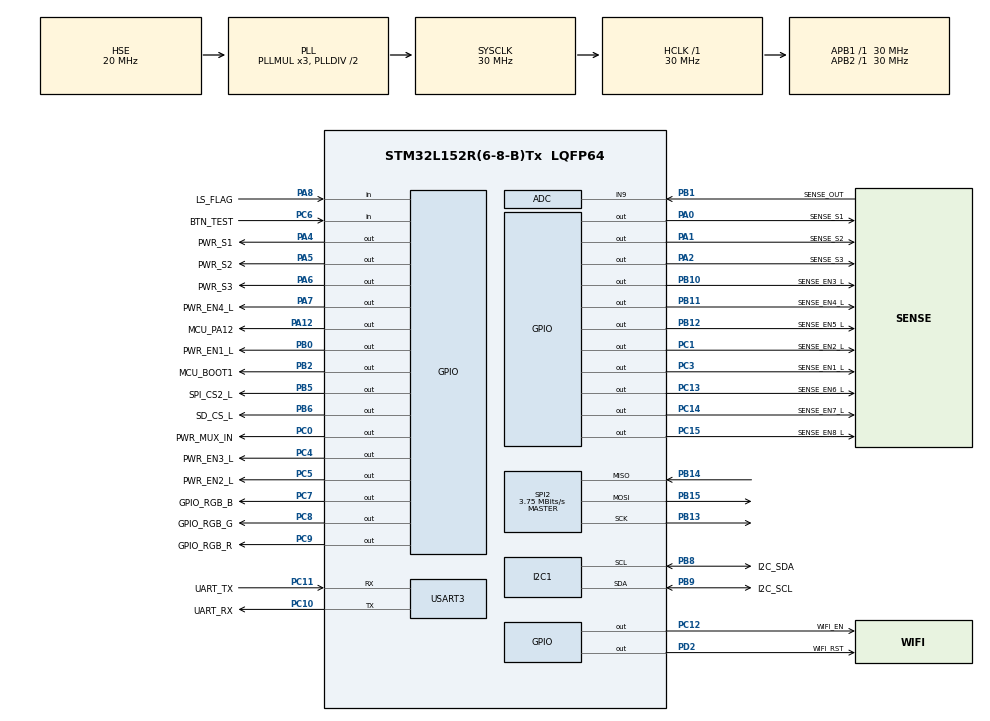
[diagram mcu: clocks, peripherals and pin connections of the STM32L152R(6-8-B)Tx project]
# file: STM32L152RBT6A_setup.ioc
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ADC.Channel-0\#ChannelRegularConversion=ADC_CHANNEL_9
ADC.NbrOfConversionFlag=1
ADC.SamplingTime-0\#ChannelRegularConversion=ADC_SAMPLETIME_48CYCLES
FATFS._MAX_SS=4096
FATFS._USE_LFN=1
Mcu.Family=STM32L1
Mcu.Name=STM32L152R(6-8-B)Tx
Mcu.Package=LQFP64
NVIC.I2C1_ER_IRQn=true\:0\:0\:false\:false\:true\:true\:true
NVIC.I2C1_EV_IRQn=true\:0\:0\:false\:false\:true\:true\:true
NVIC.PriorityGroup=NVIC_PRIORITYGROUP_4
NVIC.RCC_IRQn=true\:0\:0\:false\:false\:true\:true\:false
NVIC.RTC_Alarm_IRQn=true\:0\:0\:false\:false\:true\:true\:true
NVIC.SPI2_IRQn=true\:0\:0\:false\:false\:true\:true\:true
NVIC.USART3_IRQn=true\:0\:0\:false\:false\:true\:true\:true
PA0-WKUP1.GPIO_Label=SENSE_S1
PA0-WKUP1.Signal=GPIO_Output
PA1.GPIO_Label=SENSE_S2
PA1.Signal=GPIO_Output
PA12.GPIO_Label=MCU_PA12
PA12.Signal=GPIO_Output
PA13.Mode=Trace_Asynchronous_SW
PA13.Signal=SYS_JTMS-SWDIO
PA14.Mode=Trace_Asynchronous_SW
PA14.Signal=SYS_JTCK-SWCLK
PA2.GPIO_Label=SENSE_S3
PA2.Signal=GPIO_Output
PA4.GPIO_Label=PWR_S1
PA4.Signal=GPIO_Output
PA5.GPIO_Label=PWR_S2
PA5.Signal=GPIO_Output
PA6.GPIO_Label=PWR_S3
PA6.Signal=GPIO_Output
PA7.GPIO_Label=PWR_EN4_L
PA7.Signal=GPIO_Output
PA8.GPIO_Label=LS_FLAG
PA8.Signal=GPIO_Input
PB0.GPIO_Label=PWR_EN1_L
PB0.Signal=GPIO_Output
PB1.GPIO_Label=SENSE_OUT
PB1.GPIO_Mode=GPIO_MODE_ANALOG
PB1.GPIO_PuPd=GPIO_NOPULL
PB1.Mode=IN9
PB1.Signal=ADC_IN9
PB10.GPIO_Label=SENSE_EN3_L
PB10.Signal=GPIO_Output
PB11.GPIO_Label=SENSE_EN4_L
PB11.Signal=GPIO_Output
PB12.GPIO_Label=SENSE_EN5_L
PB12.Signal=GPIO_Output
PB13.Mode=Full_Duplex_Master
PB13.Signal=SPI2_SCK
PB14.Mode=Full_Duplex_Master
PB14.Signal=SPI2_MISO
PB15.Mode=Full_Duplex_Master
PB15.Signal=SPI2_MOSI
PB2.GPIO_Label=MCU_BOOT1
PB2.Signal=GPIO_Output
PB3.Mode=Trace_Asynchronous_SW
PB3.Signal=SYS_JTDO-TRACESWO
PB5.GPIO_Label=SPI_CS2_L
PB5.Signal=GPIO_Output
PB6.GPIO_Label=SD_CS_L
PB6.Signal=GPIO_Output
PB8.GPIO_Label=I2C_SDA
PB8.Mode=I2C
PB8.Signal=I2C1_SCL
PB9.GPIO_Label=I2C_SCL
PB9.Mode=I2C
PB9.Signal=I2C1_SDA
PC0.GPIO_Label=PWR_MUX_IN
PC0.Signal=GPIO_Output
PC1.GPIO_Label=SENSE_EN2_L
PC1.Signal=GPIO_Output
PC10.GPIO_Label=UART_RX
PC10.Mode=Asynchronous
PC10.Signal=USART3_TX
PC11.GPIO_Label=UART_TX
PC11.Mode=Asynchronous
PC11.Signal=USART3_RX
PC12.GPIO_Label=WIFI_EN
PC12.Signal=GPIO_Output
PC13-WKUP2.GPIO_Label=SENSE_EN6_L
PC13-WKUP2.Signal=GPIO_Output
PC14-OSC32_IN.GPIO_Label=SENSE_EN7_L
PC14-OSC32_IN.Signal=GPIO_Output
PC15-OSC32_OUT.GPIO_Label=SENSE_EN8_L
PC15-OSC32_OUT.Signal=GPIO_Output
PC3.GPIO_Label=SENSE_EN1_L
PC3.Signal=GPIO_Output
PC4.GPIO_Label=PWR_EN3_L
PC4.Signal=GPIO_Output
PC5.GPIO_Label=PWR_EN2_L
PC5.Signal=GPIO_Output
PC6.GPIO_Label=BTN_TEST
PC6.Signal=GPIO_Input
PC7.GPIO_Label=GPIO_RGB_B
PC7.Signal=GPIO_Output
PC8.GPIO_Label=GPIO_RGB_G
PC8.Signal=GPIO_Output
PC9.GPIO_Label=GPIO_RGB_R
PC9.Signal=GPIO_Output
PD2.GPIO_Label=WIFI_RST
PD2.Signal=GPIO_Output
PH0-OSC_IN.Mode=HSE-External-Oscillator
PH0-OSC_IN.Signal=RCC_OSC_IN
PH1-OSC_OUT.Mode=HSE-External-Oscillator
PH1-OSC_OUT.Signal=RCC_OSC_OUT
ProjectManager.HeapSize=0x200
ProjectManager.StackSize=0x800
ProjectManager.TargetToolchain=STM32CubeIDE
RCC.48MHZClocksFreq_Value=30000000
RCC.AHBFreq_Value=30000000
RCC.APB1Freq_Value=30000000
RCC.APB1TimFreq_Value=30000000
RCC.APB2Freq_Value=30000000
RCC.APB2TimFreq_Value=30000000
RCC.HCLKFreq_Value=30000000
RCC.HSE_VALUE=20000000
RCC.HSI_VALUE=16000000
RCC.LSE_VALUE=32768
RCC.MSI_VALUE=2097000
RCC.PLLSourceVirtual=RCC_PLLSOURCE_HSE
RCC.RCC_RTC_Clock_Source_FROM_HSE=RCC_RTCCLKSOURCE_HSE_DIV16
RCC.SYSCLKFreq_VALUE=30000000
RCC.SYSCLKSource=RCC_SYSCLKSOURCE_PLLCLK
RCC.VCOOutputFreq_Value=60000000
RTC.Alarm-Alarm\ A=RTC_ALARM_A
RTC.Date=11
RTC.DayLightSaving=RTC_DAYLIGHTSAVING_NONE
RTC.Format=RTC_FORMAT_BIN
RTC.Hours=22
RTC.Hours_A-Alarm\ A=6
RTC.Month=RTC_MONTH_MARCH
RTC.WeekDay=RTC_WEEKDAY_FRIDAY
RTC.Year=22
SPI2.BaudRatePrescaler=SPI_BAUDRATEPRESCALER_8
SPI2.CalculateBaudRate=3.75 MBits/s
SPI2.Direction=SPI_DIRECTION_2LINES
SPI2.Mode=SPI_MODE_MASTER
SPI2.VirtualType=VM_MASTER
USART3.VirtualMode=VM_ASYNC
VP_FATFS_VS_Generic.Mode=User_defined
VP_RTC_VS_RTC_Activate.Mode=RTC_Enabled
VP_RTC_VS_RTC_Alarm_A_Intern.Mode=Alarm A
VP_RTC_VS_RTC_Calendar.Mode=RTC_Calendar
board=custom

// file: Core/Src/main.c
/* USER CODE BEGIN Header */
/**
  ******************************************************************************
  * @file           : main.c
  * @brief          : Main program body
  ******************************************************************************
  * @attention
  *
  * Copyright (c) 2022 STMicroelectronics.
  * All rights reserved.
  *
  * This software is licensed under terms that can be found in the LICENSE file
  * in the root directory of this software component.
  * If no LICENSE file comes with this software, it is provided AS-IS.
  *
  ******************************************************************************
  */
/* USER CODE END Header */
#include "main.h"
#include "fatfs.h"

/* USER CODE BEGIN Includes */
#include <stdlib.h>
#include <stdio.h>
#include <string.h>
#include <stdbool.h>
#include <math.h>
#include "fatfs_sd.h"

/* USER CODE END Includes */

/* USER CODE BEGIN PM */
#define NUM_NODES 	     36
#define WAITTIME 	     30000
#define UART_BUF_SIZE 	     (NUM_NODES * 5 + 1)
#define VOLTAGE_THRESH       2.0
#define VOLTAGE_THRESH_CNT   5

/* USER CODE END PM */

ADC_HandleTypeDef hadc;

I2C_HandleTypeDef hi2c1;

RTC_HandleTypeDef hrtc;

SPI_HandleTypeDef hspi2;

UART_HandleTypeDef huart3;

/* USER CODE BEGIN PV */
/* SD card-related variables */
FATFS fs;
FIL fil;
FRESULT fr = FR_OK;     /* FatFs return code */
FATFS *pfs;
DWORD fre_clust;
uint32_t total, free_space;

char date[13];
char file_name[30] = "drain_210g.csv";
RTC_DateTypeDef nDate;
RTC_TimeTypeDef nTime;

/* Wifi-related variables */
char buffer[100];

/* Muxing-related variables */
/* At 3.3V, expect ADC reading of 4095 */
const float ADC_VOLTAGE_CONVERSION = 0.0008056641;

const int pwrMuxEnable[4] = {PWR_EN1_L_Pin, PWR_EN2_L_Pin, PWR_EN3_L_Pin, PWR_EN4_L_Pin};
const int senseMuxEnable[8] = {SENSE_EN1_L_Pin, SENSE_EN2_L_Pin, SENSE_EN3_L_Pin, SENSE_EN4_L_Pin, SENSE_EN5_L_Pin, SENSE_EN6_L_Pin, SENSE_EN7_L_Pin, SENSE_EN8_L_Pin};

GPIO_TypeDef * pwrMuxType[4] = {GPIOB, GPIOC, GPIOC, GPIOA};
GPIO_TypeDef * senseMuxType[8] = {GPIOC, GPIOC, GPIOB, GPIOB, GPIOB, GPIOC, GPIOC, GPIOC};

int senseMuxSelect[3] = {SENSE_S1_Pin, SENSE_S2_Pin, SENSE_S3_Pin};
int pwrMuxSelect[3] = {PWR_S1_Pin, PWR_S2_Pin, PWR_S3_Pin};

/* USER CODE END PV */

void SystemClock_Config(void);
static void MX_GPIO_Init(void);
static void MX_ADC_Init(void);
static void MX_I2C1_Init(void);
static void MX_SPI2_Init(void);
static void MX_USART3_UART_Init(void);
static void MX_RTC_Init(void);
/* USER CODE BEGIN PFP */
/* SD card */
int _write(int file, char* ptr, int len);
void writeCurrentTime(void);
void logData2SDCard(int *data, int len);
void readSDCardSendUART();
uint32_t getSpaceFree(void);

/* Muxes */
void muxInit(void);
void selectChannel(int pin, int array[]);
void enableMux(GPIO_TypeDef *type, int pin);
void disableMux(GPIO_TypeDef *type, int pin);
int readPressure(void);
bool checkTime(uint32_t start_time);
void samplePrototypeMat(int pwr_mux, int sense_mux, int* data);
int sampleSingleSquare(int pwr_mux, int sense_mux, int pwr_sel, int sense_sel);
/* USER CODE END PFP */

int main(void)
{

  /* MCU Configuration--------------------------------------------------------*/

  /* Reset of all peripherals, Initializes the Flash interface and the Systick. */
  HAL_Init();

  /* Configure the system clock */
  SystemClock_Config();

  /* Initialize all configured peripherals */
  MX_GPIO_Init();
  MX_ADC_Init();
  MX_I2C1_Init();
  MX_SPI2_Init();
  MX_USART3_UART_Init();
  MX_FATFS_Init();
  MX_RTC_Init();
  /* USER CODE BEGIN 2 */

  muxInit();

  int pressure_data[NUM_NODES] = {0};

  /* USER CODE END 2 */

  /* Infinite loop */
  /* USER CODE BEGIN WHILE */

  while (HAL_GPIO_ReadPin(BTN_TEST_GPIO_Port, BTN_TEST_Pin) == GPIO_PIN_SET){}

  HAL_GPIO_WritePin(GPIOC, GPIO_RGB_G_Pin, GPIO_PIN_SET);

  while (HAL_GPIO_ReadPin(BTN_TEST_GPIO_Port, BTN_TEST_Pin) == GPIO_PIN_SET)
  {
    /* USER CODE END WHILE */

    /* USER CODE BEGIN 3 */
    samplePrototypeMat(0, 0, pressure_data);

    char test[6] = {0};
    char start_tx = '<';

    for (int n = 0; n < NUM_NODES; ++n)
    {
      if (n == 0)
      {
	 HAL_UART_Transmit(&huart3, &start_tx, sizeof(char), HAL_MAX_DELAY);
	 HAL_Delay(15);
      }

      sprintf(test, "%d >", pressure_data[n]);
      HAL_UART_Transmit(&huart3, (uint8_t*)test, sizeof(test), HAL_MAX_DELAY);
      HAL_Delay(15);
    }
  }

  HAL_GPIO_WritePin(GPIOC, GPIO_RGB_G_Pin, GPIO_PIN_RESET);

  exit(0);
  /* USER CODE END 3 */
}

void SystemClock_Config(void)
{
  RCC_OscInitTypeDef RCC_OscInitStruct = {0};
  RCC_ClkInitTypeDef RCC_ClkInitStruct = {0};
  RCC_PeriphCLKInitTypeDef PeriphClkInit = {0};

  /** Configure the main internal regulator output voltage
  */
  __HAL_PWR_VOLTAGESCALING_CONFIG(PWR_REGULATOR_VOLTAGE_SCALE1);
  /** Initializes the RCC Oscillators according to the specified parameters
  * in the RCC_OscInitTypeDef structure.
  */
  RCC_OscInitStruct.OscillatorType = RCC_OSCILLATORTYPE_HSI|RCC_OSCILLATORTYPE_LSI
                              |RCC_OSCILLATORTYPE_HSE;
  RCC_OscInitStruct.HSEState = RCC_HSE_ON;
  RCC_OscInitStruct.HSIState = RCC_HSI_ON;
  RCC_OscInitStruct.HSICalibrationValue = RCC_HSICALIBRATION_DEFAULT;
  RCC_OscInitStruct.LSIState = RCC_LSI_ON;
  RCC_OscInitStruct.PLL.PLLState = RCC_PLL_ON;
  RCC_OscInitStruct.PLL.PLLSource = RCC_PLLSOURCE_HSE;
  RCC_OscInitStruct.PLL.PLLMUL = RCC_PLL_MUL3;
  RCC_OscInitStruct.PLL.PLLDIV = RCC_PLL_DIV2;
  if (HAL_RCC_OscConfig(&RCC_OscInitStruct) != HAL_OK)
  {
    Error_Handler();
  }
  /** Initializes the CPU, AHB and APB buses clocks
  */
  RCC_ClkInitStruct.ClockType = RCC_CLOCKTYPE_HCLK|RCC_CLOCKTYPE_SYSCLK
                              |RCC_CLOCKTYPE_PCLK1|RCC_CLOCKTYPE_PCLK2;
  RCC_ClkInitStruct.SYSCLKSource = RCC_SYSCLKSOURCE_PLLCLK;
  RCC_ClkInitStruct.AHBCLKDivider = RCC_SYSCLK_DIV1;
  RCC_ClkInitStruct.APB1CLKDivider = RCC_HCLK_DIV1;
  RCC_ClkInitStruct.APB2CLKDivider = RCC_HCLK_DIV1;

  if (HAL_RCC_ClockConfig(&RCC_ClkInitStruct, FLASH_LATENCY_1) != HAL_OK)
  {
    Error_Handler();
  }
  PeriphClkInit.PeriphClockSelection = RCC_PERIPHCLK_RTC;
  PeriphClkInit.RTCClockSelection = RCC_RTCCLKSOURCE_LSI;
  if (HAL_RCCEx_PeriphCLKConfig(&PeriphClkInit) != HAL_OK)
  {
    Error_Handler();
  }
}

static void MX_ADC_Init(void)
{

  ADC_ChannelConfTypeDef sConfig = {0};

  /** Configure the global features of the ADC (Clock, Resolution, Data Alignment and number of conversion)
  */
  hadc.Instance = ADC1;
  hadc.Init.ClockPrescaler = ADC_CLOCK_ASYNC_DIV1;
  hadc.Init.Resolution = ADC_RESOLUTION_12B;
  hadc.Init.DataAlign = ADC_DATAALIGN_RIGHT;
  hadc.Init.ScanConvMode = ADC_SCAN_DISABLE;
  hadc.Init.EOCSelection = ADC_EOC_SEQ_CONV;
  hadc.Init.LowPowerAutoWait = ADC_AUTOWAIT_DISABLE;
  hadc.Init.LowPowerAutoPowerOff = ADC_AUTOPOWEROFF_DISABLE;
  hadc.Init.ChannelsBank = ADC_CHANNELS_BANK_A;
  hadc.Init.ContinuousConvMode = DISABLE;
  hadc.Init.NbrOfConversion = 1;
  hadc.Init.DiscontinuousConvMode = DISABLE;
  hadc.Init.ExternalTrigConv = ADC_SOFTWARE_START;
  hadc.Init.ExternalTrigConvEdge = ADC_EXTERNALTRIGCONVEDGE_NONE;
  hadc.Init.DMAContinuousRequests = DISABLE;
  if (HAL_ADC_Init(&hadc) != HAL_OK)
  {
    Error_Handler();
  }
  /** Configure for the selected ADC regular channel its corresponding rank in the sequencer and its sample time.
  */
  sConfig.Channel = ADC_CHANNEL_9;
  sConfig.Rank = ADC_REGULAR_RANK_1;
  sConfig.SamplingTime = ADC_SAMPLETIME_48CYCLES;
  if (HAL_ADC_ConfigChannel(&hadc, &sConfig) != HAL_OK)
  {
    Error_Handler();
  }

}

static void MX_I2C1_Init(void)
{

  hi2c1.Instance = I2C1;
  hi2c1.Init.ClockSpeed = 100000;
  hi2c1.Init.DutyCycle = I2C_DUTYCYCLE_2;
  hi2c1.Init.OwnAddress1 = 0;
  hi2c1.Init.AddressingMode = I2C_ADDRESSINGMODE_7BIT;
  hi2c1.Init.DualAddressMode = I2C_DUALADDRESS_DISABLE;
  hi2c1.Init.OwnAddress2 = 0;
  hi2c1.Init.GeneralCallMode = I2C_GENERALCALL_DISABLE;
  hi2c1.Init.NoStretchMode = I2C_NOSTRETCH_DISABLE;
  if (HAL_I2C_Init(&hi2c1) != HAL_OK)
  {
    Error_Handler();
  }

}

static void MX_RTC_Init(void)
{

  RTC_TimeTypeDef sTime = {0};
  RTC_DateTypeDef sDate = {0};
  RTC_AlarmTypeDef sAlarm = {0};

  /** Initialize RTC Only
  */
  hrtc.Instance = RTC;
  hrtc.Init.HourFormat = RTC_HOURFORMAT_24;
  hrtc.Init.AsynchPrediv = 127;
  hrtc.Init.SynchPrediv = 255;
  hrtc.Init.OutPut = RTC_OUTPUT_DISABLE;
  hrtc.Init.OutPutPolarity = RTC_OUTPUT_POLARITY_HIGH;
  hrtc.Init.OutPutType = RTC_OUTPUT_TYPE_OPENDRAIN;
  if (HAL_RTC_Init(&hrtc) != HAL_OK)
  {
    Error_Handler();
  }

  /** Initialize RTC and set the Time and Date
  */
  sTime.Hours = 22;
  sTime.Minutes = 0;
  sTime.Seconds = 0;
  sTime.DayLightSaving = RTC_DAYLIGHTSAVING_NONE;
  sTime.StoreOperation = RTC_STOREOPERATION_RESET;
  if (HAL_RTC_SetTime(&hrtc, &sTime, RTC_FORMAT_BIN) != HAL_OK)
  {
    Error_Handler();
  }
  sDate.WeekDay = RTC_WEEKDAY_FRIDAY;
  sDate.Month = RTC_MONTH_MARCH;
  sDate.Date = 11;
  sDate.Year = 22;

  if (HAL_RTC_SetDate(&hrtc, &sDate, RTC_FORMAT_BIN) != HAL_OK)
  {
    Error_Handler();
  }
  /** Enable the Alarm A
  */
  sAlarm.AlarmTime.Hours = 6;
  sAlarm.AlarmTime.Minutes = 0;
  sAlarm.AlarmTime.Seconds = 0;
  sAlarm.AlarmTime.DayLightSaving = RTC_DAYLIGHTSAVING_NONE;
  sAlarm.AlarmTime.StoreOperation = RTC_STOREOPERATION_RESET;
  sAlarm.AlarmMask = RTC_ALARMMASK_NONE;
  sAlarm.AlarmDateWeekDaySel = RTC_ALARMDATEWEEKDAYSEL_DATE;
  sAlarm.AlarmDateWeekDay = 1;
  sAlarm.Alarm = RTC_ALARM_A;
  if (HAL_RTC_SetAlarm_IT(&hrtc, &sAlarm, RTC_FORMAT_BIN) != HAL_OK)
  {
    Error_Handler();
  }

}

static void MX_SPI2_Init(void)
{

  /* SPI2 parameter configuration*/
  hspi2.Instance = SPI2;
  hspi2.Init.Mode = SPI_MODE_MASTER;
  hspi2.Init.Direction = SPI_DIRECTION_2LINES;
  hspi2.Init.DataSize = SPI_DATASIZE_8BIT;
  hspi2.Init.CLKPolarity = SPI_POLARITY_LOW;
  hspi2.Init.CLKPhase = SPI_PHASE_1EDGE;
  hspi2.Init.NSS = SPI_NSS_SOFT;
  hspi2.Init.BaudRatePrescaler = SPI_BAUDRATEPRESCALER_8;
  hspi2.Init.FirstBit = SPI_FIRSTBIT_MSB;
  hspi2.Init.TIMode = SPI_TIMODE_DISABLE;
  hspi2.Init.CRCCalculation = SPI_CRCCALCULATION_DISABLE;
  hspi2.Init.CRCPolynomial = 10;
  if (HAL_SPI_Init(&hspi2) != HAL_OK)
  {
    Error_Handler();
  }

}

static void MX_USART3_UART_Init(void)
{

  huart3.Instance = USART3;
  huart3.Init.BaudRate = 115200;
  huart3.Init.WordLength = UART_WORDLENGTH_8B;
  huart3.Init.StopBits = UART_STOPBITS_1;
  huart3.Init.Parity = UART_PARITY_NONE;
  huart3.Init.Mode = UART_MODE_TX_RX;
  huart3.Init.HwFlowCtl = UART_HWCONTROL_NONE;
  huart3.Init.OverSampling = UART_OVERSAMPLING_16;
  if (HAL_UART_Init(&huart3) != HAL_OK)
  {
    Error_Handler();
  }

}

static void MX_GPIO_Init(void)
{
  GPIO_InitTypeDef GPIO_InitStruct = {0};

  /* GPIO Ports Clock Enable */
  __HAL_RCC_GPIOC_CLK_ENABLE();
  __HAL_RCC_GPIOH_CLK_ENABLE();
  __HAL_RCC_GPIOA_CLK_ENABLE();
  __HAL_RCC_GPIOB_CLK_ENABLE();
  __HAL_RCC_GPIOD_CLK_ENABLE();

  /*Configure GPIO pin Output Level */
  HAL_GPIO_WritePin(GPIOC, SENSE_EN6_L_Pin|SENSE_EN7_L_Pin|SENSE_EN8_L_Pin|PWR_MUX_IN_Pin
                          |SENSE_EN2_L_Pin|SENSE_EN1_L_Pin|PWR_EN3_L_Pin|PWR_EN2_L_Pin
                          |GPIO_RGB_B_Pin|GPIO_RGB_G_Pin|GPIO_RGB_R_Pin|WIFI_EN_Pin, GPIO_PIN_RESET);

  /*Configure GPIO pin Output Level */
  HAL_GPIO_WritePin(GPIOA, SENSE_S1_Pin|SENSE_S2_Pin|SENSE_S3_Pin|PWR_S1_Pin
                          |PWR_S2_Pin|PWR_S3_Pin|PWR_EN4_L_Pin|MCU_PA12_Pin, GPIO_PIN_RESET);

  /*Configure GPIO pin Output Level */
  HAL_GPIO_WritePin(GPIOB, PWR_EN1_L_Pin|MCU_BOOT1_Pin|SENSE_EN3_L_Pin|SENSE_EN4_L_Pin
                          |SENSE_EN5_L_Pin|SPI_CS2_L_Pin|SD_CS_L_Pin, GPIO_PIN_RESET);

  /*Configure GPIO pin Output Level */
  HAL_GPIO_WritePin(WIFI_RST_GPIO_Port, WIFI_RST_Pin, GPIO_PIN_RESET);

  /*Configure GPIO pins : SENSE_EN6_L_Pin SENSE_EN7_L_Pin SENSE_EN8_L_Pin PWR_MUX_IN_Pin
                           SENSE_EN2_L_Pin SENSE_EN1_L_Pin PWR_EN3_L_Pin PWR_EN2_L_Pin
                           GPIO_RGB_B_Pin GPIO_RGB_G_Pin GPIO_RGB_R_Pin WIFI_EN_Pin */
  GPIO_InitStruct.Pin = SENSE_EN6_L_Pin|SENSE_EN7_L_Pin|SENSE_EN8_L_Pin|PWR_MUX_IN_Pin
                          |SENSE_EN2_L_Pin|SENSE_EN1_L_Pin|PWR_EN3_L_Pin|PWR_EN2_L_Pin
                          |GPIO_RGB_B_Pin|GPIO_RGB_G_Pin|GPIO_RGB_R_Pin|WIFI_EN_Pin;
  GPIO_InitStruct.Mode = GPIO_MODE_OUTPUT_PP;
  GPIO_InitStruct.Pull = GPIO_NOPULL;
  GPIO_InitStruct.Speed = GPIO_SPEED_FREQ_LOW;
  HAL_GPIO_Init(GPIOC, &GPIO_InitStruct);

  /*Configure GPIO pins : SENSE_S1_Pin SENSE_S2_Pin SENSE_S3_Pin PWR_S1_Pin
                           PWR_S2_Pin PWR_S3_Pin PWR_EN4_L_Pin MCU_PA12_Pin */
  GPIO_InitStruct.Pin = SENSE_S1_Pin|SENSE_S2_Pin|SENSE_S3_Pin|PWR_S1_Pin
                          |PWR_S2_Pin|PWR_S3_Pin|PWR_EN4_L_Pin|MCU_PA12_Pin;
  GPIO_InitStruct.Mode = GPIO_MODE_OUTPUT_PP;
  GPIO_InitStruct.Pull = GPIO_NOPULL;
  GPIO_InitStruct.Speed = GPIO_SPEED_FREQ_LOW;
  HAL_GPIO_Init(GPIOA, &GPIO_InitStruct);

  /*Configure GPIO pins : PWR_EN1_L_Pin MCU_BOOT1_Pin SENSE_EN3_L_Pin SENSE_EN4_L_Pin
                           SENSE_EN5_L_Pin SPI_CS2_L_Pin SD_CS_L_Pin */
  GPIO_InitStruct.Pin = PWR_EN1_L_Pin|MCU_BOOT1_Pin|SENSE_EN3_L_Pin|SENSE_EN4_L_Pin
                          |SENSE_EN5_L_Pin|SPI_CS2_L_Pin|SD_CS_L_Pin;
  GPIO_InitStruct.Mode = GPIO_MODE_OUTPUT_PP;
  GPIO_InitStruct.Pull = GPIO_NOPULL;
  GPIO_InitStruct.Speed = GPIO_SPEED_FREQ_LOW;
  HAL_GPIO_Init(GPIOB, &GPIO_InitStruct);

  /*Configure GPIO pin : BTN_TEST_Pin */
  GPIO_InitStruct.Pin = BTN_TEST_Pin;
  GPIO_InitStruct.Mode = GPIO_MODE_INPUT;
  GPIO_InitStruct.Pull = GPIO_NOPULL;
  HAL_GPIO_Init(BTN_TEST_GPIO_Port, &GPIO_InitStruct);

  /*Configure GPIO pin : LS_FLAG_Pin */
  GPIO_InitStruct.Pin = LS_FLAG_Pin;
  GPIO_InitStruct.Mode = GPIO_MODE_INPUT;
  GPIO_InitStruct.Pull = GPIO_NOPULL;
  HAL_GPIO_Init(LS_FLAG_GPIO_Port, &GPIO_InitStruct);

  /*Configure GPIO pin : WIFI_RST_Pin */
  GPIO_InitStruct.Pin = WIFI_RST_Pin;
  GPIO_InitStruct.Mode = GPIO_MODE_OUTPUT_PP;
  GPIO_InitStruct.Pull = GPIO_NOPULL;
  GPIO_InitStruct.Speed = GPIO_SPEED_FREQ_LOW;
  HAL_GPIO_Init(WIFI_RST_GPIO_Port, &GPIO_InitStruct);

}

/* USER CODE BEGIN 4 */
/**
    * @brief
    * @param  :
    * @retval :
    */
void writeCurrentTime(void)
{
    char time[10];

    HAL_RTC_GetTime(&hrtc, &nTime, RTC_FORMAT_BIN);
    sprintf(time, "%02u:%02u:%02u,", nTime.Hours, nTime.Minutes, nTime.Seconds);
    f_lseek(&fil, f_size(&fil));
    fr = f_printf( &fil, "%s", time);
}

/**
    * @brief  Change _write function in stdio to be used in printf to redirect output to the SWV.
    * @param  file: name of file to write to
    * @param  ptr: data to write
    * @param len: length of data to write
    * @retval len: length of data to write
    */
int _write(int file, char* ptr, int len)
{
	int data_index;
	for (data_index = 0; data_index < len; data_index++)
	{
		ITM_SendChar(*ptr++);
	}
	return len;
}

/**
    * @brief
    * @param  :
    * @retval :
    */
/*void logData2SDCard(int *data, int len)
{
	/* Make space for line of data
    f_lseek(&fil, FILE_LINE_SIZE);
    f_lseek(&fil, f_size(&fil));

	/* Construct string to put into file
    for(int node = 0; node < len - 1; node++)
    {
        fr = f_printf(&fil, "%d,", data[node]) && FR_OK;
    }

    fr = f_printf(&fil, "%d\n", data[len - 1]) && FR_OK;

    // Flush file after every mat reading
    fr = f_sync(&fil) && FR_OK;
}*/

/* void readSDCardSendUART() {

    f_open(&fil, file_name, FA_READ); // Data can be read from file
    char line[FILE_LINE_SIZE]; /* Line buffer

    /*Read every line
    while (f_gets(line, sizeof line, &fil)) {
    	// Send to UART
    	HAL_UART_Transmit(&huart3, (uint16_t *)line, sizeof(line), HAL_MAX_DELAY);
    	HAL_Delay(100);
    }

	/* Close the file
	fr = f_close(&fil);

}*/

uint32_t getSpaceFree(void)
{
	// TODO
	return 1;
}

/**
    * @brief
    * @param  :
    * @retval :
    */
void muxInit(void) {
	/* Set load switch */
	HAL_GPIO_WritePin(GPIOC, PWR_MUX_IN_Pin, GPIO_PIN_SET);

	/* All muxes are active low. We want to set them high (disabled) at startup */
	for (int pwr_mux = 0; pwr_mux < 4; pwr_mux++)
	{
		disableMux(pwrMuxType[pwr_mux], pwrMuxEnable[pwr_mux]);
	}
	for (int sense_mux = 0; sense_mux < 8; sense_mux++)
	{
		disableMux(senseMuxType[sense_mux], senseMuxEnable[sense_mux]);
	}
}

/**
    * @brief  Sets to S0, S1, and S2 select pins
    */
void selectChannel(int pin, int array[]) {
	switch (pin) {
		case 0:
			HAL_GPIO_WritePin(GPIOA, array[0], GPIO_PIN_RESET);
			HAL_GPIO_WritePin(GPIOA, array[1], GPIO_PIN_RESET);
			HAL_GPIO_WritePin(GPIOA, array[2], GPIO_PIN_RESET);
			break;
		case 1:
			HAL_GPIO_WritePin(GPIOA, array[0], GPIO_PIN_SET);
			HAL_GPIO_WritePin(GPIOA, array[1], GPIO_PIN_RESET);
			HAL_GPIO_WritePin(GPIOA, array[2], GPIO_PIN_RESET);
			break;
		case 2:
			HAL_GPIO_WritePin(GPIOA, array[0], GPIO_PIN_RESET);
			HAL_GPIO_WritePin(GPIOA, array[1], GPIO_PIN_SET);
			HAL_GPIO_WritePin(GPIOA, array[2], GPIO_PIN_RESET);
			break;
		case 3:
			HAL_GPIO_WritePin(GPIOA, array[0], GPIO_PIN_SET);
			HAL_GPIO_WritePin(GPIOA, array[1], GPIO_PIN_SET);
			HAL_GPIO_WritePin(GPIOA, array[2], GPIO_PIN_RESET);
			break;
		case 4:
			HAL_GPIO_WritePin(GPIOA, array[0], GPIO_PIN_RESET);
			HAL_GPIO_WritePin(GPIOA, array[1], GPIO_PIN_RESET);
			HAL_GPIO_WritePin(GPIOA, array[2], GPIO_PIN_SET);
			break;
		case 5:
			HAL_GPIO_WritePin(GPIOA, array[0], GPIO_PIN_SET);
			HAL_GPIO_WritePin(GPIOA, array[1], GPIO_PIN_RESET);
			HAL_GPIO_WritePin(GPIOA, array[2], GPIO_PIN_SET);
			break;
		case 6:
			HAL_GPIO_WritePin(GPIOA, array[0], GPIO_PIN_RESET);
			HAL_GPIO_WritePin(GPIOA, array[1], GPIO_PIN_SET);
			HAL_GPIO_WritePin(GPIOA, array[2], GPIO_PIN_SET);
			break;
		case 7:
			HAL_GPIO_WritePin(GPIOA, array[0], GPIO_PIN_SET);
			HAL_GPIO_WritePin(GPIOA, array[1], GPIO_PIN_SET);
			HAL_GPIO_WritePin(GPIOA, array[2], GPIO_PIN_SET);
			break;
	}
}

/**
    * @brief
    * @param  :
    * @retval :
    */
void enableMux(GPIO_TypeDef *type, int pin)
{
	HAL_GPIO_WritePin(type,  pin,  GPIO_PIN_RESET);
}

/**
    * @brief
    * @param  :
    * @retval :
    */
void disableMux(GPIO_TypeDef *type, int pin)
{
	HAL_GPIO_WritePin(type,  pin,  GPIO_PIN_SET);
}

/**
    * @brief  :
    * @param  :
    * @retval :
    */
int readPressure(void)
{
	HAL_Delay(5);
	HAL_ADC_Start(&hadc);
    HAL_ADC_PollForConversion(&hadc, HAL_MAX_DELAY);
    int data = HAL_ADC_GetValue(&hadc);
    HAL_ADC_Stop(&hadc);
    return data;
}

/**
    * @brief  :
    * @param  :
    * @retval :
    */
void samplePrototypeMat(int pwr_mux, int sense_mux, int* data)
{
  int array_cnt = 0;
  enableMux(pwrMuxType[pwr_mux], pwrMuxEnable[pwr_mux]);
  enableMux(senseMuxType[sense_mux], senseMuxEnable[sense_mux]);

  for (int pwr_sel = 0; pwr_sel < 6; pwr_sel++)
  {
    selectChannel(pwr_sel, pwrMuxSelect);
    for (int sense_sel = 0; sense_sel < 6; sense_sel++)
    {
      selectChannel(sense_sel, senseMuxSelect);

      /* Read voltage */
      int raw_ADC_pressure = readPressure();

      data[array_cnt] = raw_ADC_pressure;
      // data[array_cnt] = array_cnt;
      array_cnt++;
    }
  }
}

/**
    * @brief  :
    * @param  :
    * @retval :
    */
int sampleSingleSquare(int pwr_mux, int sense_mux, int pwr_sel, int sense_sel)
{

	enableMux(pwrMuxType[pwr_mux], pwrMuxEnable[pwr_mux]);
	enableMux(senseMuxType[sense_mux], senseMuxEnable[sense_mux]);

	selectChannel(pwr_sel, pwrMuxSelect);
	selectChannel(sense_sel, senseMuxSelect);

	/* Read voltage */
	int raw_ADC_pressure = readPressure();

	return raw_ADC_pressure;

}
bool checkTime(uint32_t start_time) {

  if((HAL_GetTick() - start_time) >= WAITTIME) // Run for 30 seconds
  {
	  return true;
  }
  return false;
}

/* USER CODE END 4 */

void Error_Handler(void)
{
  /* USER CODE BEGIN Error_Handler_Debug */
    /* User can add his own implementation to report the HAL error return state */
    __disable_irq();
    while (1)
    {
		HAL_GPIO_WritePin(GPIOC, GPIO_RGB_R_Pin, GPIO_PIN_SET);
		HAL_Delay(500);
		HAL_GPIO_WritePin(GPIOC, GPIO_RGB_R_Pin, GPIO_PIN_RESET);
    }
  /* USER CODE END Error_Handler_Debug */
}
